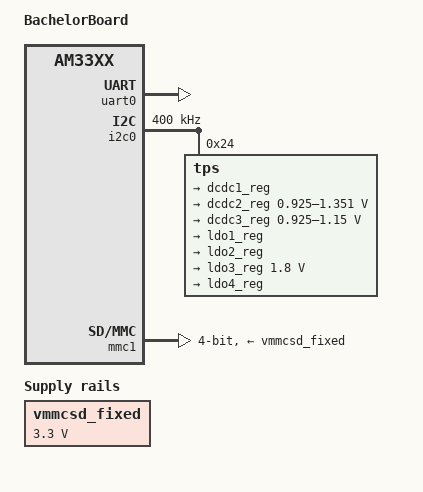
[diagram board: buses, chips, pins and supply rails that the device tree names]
/*
 * Copyright (C) 2012 Texas Instruments Incorporated - http://www.ti.com/
 *
 * This program is free software; you can redistribute it and/or modify
 * it under the terms of the GNU General Public License version 2 as
 * published by the Free Software Foundation.
 */
/dts-v1/;

#include "am33xx.dtsi"

/* begin bone common */
/ {
	cpus {
		cpu@0 {
			cpu0-supply = <&dcdc2_reg>;
		};
	};

	vmmcsd_fixed: fixedregulator@0 {
		compatible = "regulator-fixed";
		regulator-name = "vmmcsd_fixed";
		regulator-min-microvolt = <3300000>;
		regulator-max-microvolt = <3300000>;
	};
};

&am33xx_pinmux {
	pinctrl-names = "default";
	pinctrl-0 = <&clkout2_pin>;

	i2c0_pins: pinmux_i2c0_pins {
		pinctrl-single,pins = <
			0x188 (PIN_INPUT_PULLUP | MUX_MODE0)	/* i2c0_sda.i2c0_sda */
			0x18c (PIN_INPUT_PULLUP | MUX_MODE0)	/* i2c0_scl.i2c0_scl */
		>;
	};

	uart0_pins: pinmux_uart0_pins {
		pinctrl-single,pins = <
			0x170 (PIN_INPUT_PULLUP | MUX_MODE0)	/* uart0_rxd.uart0_rxd */
			0x174 (PIN_OUTPUT_PULLDOWN | MUX_MODE0)	/* uart0_txd.uart0_txd */
		>;
	};

	clkout2_pin: pinmux_clkout2_pin {
		pinctrl-single,pins = <
			0x1b4 (PIN_OUTPUT_PULLDOWN | MUX_MODE3)	/* xdma_event_intr1.clkout2 */
		>;
	};
};

&uart0 {
	pinctrl-names = "default";
	pinctrl-0 = <&uart0_pins>;

	status = "okay";
};

&i2c0 {
	pinctrl-names = "default";
	pinctrl-0 = <&i2c0_pins>;

	status = "okay";
	clock-frequency = <400000>;

	tps: tps@24 {
		reg = <0x24>;
	};
};

/include/ "tps65217.dtsi"

&tps {
	/*
	 * Configure pmic to enter OFF-state instead of SLEEP-state ("RTC-only
	 * mode") at poweroff.  Most BeagleBone versions do not support RTC-only
	 * mode and risk hardware damage if this mode is entered.
	 *
	 * For details, see linux-omap mailing list May 2015 thread
	 *	[PATCH] ARM: dts: am335x-bone* enable pmic-shutdown-controller
	 * In particular, messages:
	 *	http://www.spinics.net/lists/linux-omap/msg118585.html
	 *	http://www.spinics.net/lists/linux-omap/msg118615.html
	 *
	 * You can override this later with
	 *	&tps {  /delete-property/ ti,pmic-shutdown-controller;  }
	 * if you want to use RTC-only mode and made sure you are not affected
	 * by the hardware problems. (Tip: double-check by performing a current
	 * measurement after shutdown: it should be less than 1 mA.)
	 */
	ti,pmic-shutdown-controller;

	regulators {
		dcdc1_reg: regulator@0 {
			regulator-name = "vdds_ddr";
			regulator-always-on;
		};

		dcdc2_reg: regulator@1 {
			/* VDD_MPU voltage limits 0.95V - 1.26V with +/-4% tolerance */
			regulator-name = "vdd_mpu";
			regulator-min-microvolt = <925000>;
			regulator-max-microvolt = <1351500>;
			regulator-boot-on;
			regulator-always-on;
		};

		dcdc3_reg: regulator@2 {
			/* VDD_CORE voltage limits 0.95V - 1.1V with +/-4% tolerance */
			regulator-name = "vdd_core";
			regulator-min-microvolt = <925000>;
			regulator-max-microvolt = <1150000>;
			regulator-boot-on;
			regulator-always-on;
		};

		ldo1_reg: regulator@3 {
			regulator-name = "vdd_1v8b";
			regulator-always-on;
		};

		ldo2_reg: regulator@4 {
			regulator-name = "vdd_3v3b";
			regulator-always-on;
		};

		ldo3_reg: regulator@5 {
			regulator-name = "vdd_1v8a";
			regulator-always-on;
		};

		ldo4_reg: regulator@6 {
			regulator-name = "vdd_3v3a";
			regulator-always-on;
		};
	};
};

&mmc1 {
	status = "okay";
	bus-width = <0x4>;
	broken-cd;
	vmmc-supply = <&vmmcsd_fixed>;
};

&rtc {
	clocks = <&clk_32768_ck>, <&clkdiv32k_ick>;
	clock-names = "ext-clk", "int-clk";
	system-power-controller;
};
/* end bone common */


/ {
	model = "BachelorBoard";
	compatible = "ti,bachelor", "ti,am33xx";
};

&ldo3_reg {
	regulator-min-microvolt = <1800000>;
	regulator-max-microvolt = <1800000>;
	regulator-always-on;
};

&rtc {
	system-power-controller;
};
